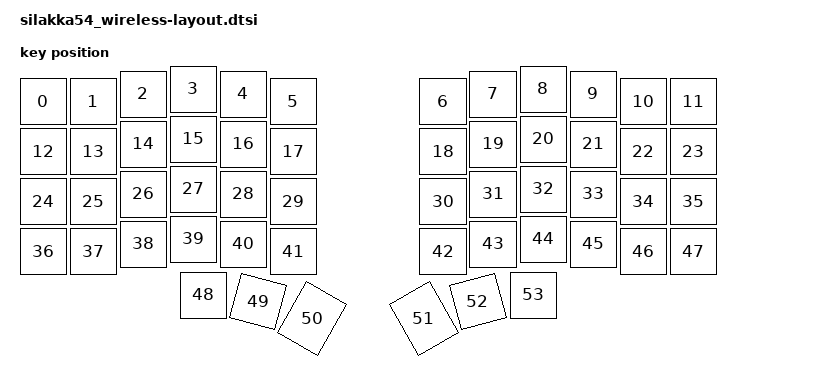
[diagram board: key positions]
/* SPDX-License-Identifier: MIT */

#include <physical_layouts.dtsi>

/* Owner-adjusted, symmetrized photo-based layout, not measured PCB geometry.
 * Four six-key rows and three arcing thumbs per half; inner thumbs are 1.25u
 * wide at mirrored -60/+60 degrees. Ordering matches the 54-entry transform/keymap.
 */
/ {
    silakka54_wireless_layout: silakka54_wireless_layout {
        compatible = "zmk,physical-layout";
        display-name = "Silakka54 Wireless";

        keys //                       w   h    x    y      rot    rx   ry
            = <&key_physical_attrs 100 100    0   25        0     0    0>
            , <&key_physical_attrs 100 100  100   25        0     0    0>
            , <&key_physical_attrs 100 100  200   10        0     0    0>
            , <&key_physical_attrs 100 100  300    0        0     0    0>
            , <&key_physical_attrs 100 100  400   10        0     0    0>
            , <&key_physical_attrs 100 100  500   25        0     0    0>
            , <&key_physical_attrs 100 100  800   25        0     0    0>
            , <&key_physical_attrs 100 100  900   10        0     0    0>
            , <&key_physical_attrs 100 100 1000    0        0     0    0>
            , <&key_physical_attrs 100 100 1100   10        0     0    0>
            , <&key_physical_attrs 100 100 1200   25        0     0    0>
            , <&key_physical_attrs 100 100 1300   25        0     0    0>
            , <&key_physical_attrs 100 100    0  125        0     0    0>
            , <&key_physical_attrs 100 100  100  125        0     0    0>
            , <&key_physical_attrs 100 100  200  110        0     0    0>
            , <&key_physical_attrs 100 100  300  100        0     0    0>
            , <&key_physical_attrs 100 100  400  110        0     0    0>
            , <&key_physical_attrs 100 100  500  125        0     0    0>
            , <&key_physical_attrs 100 100  800  125        0     0    0>
            , <&key_physical_attrs 100 100  900  110        0     0    0>
            , <&key_physical_attrs 100 100 1000  100        0     0    0>
            , <&key_physical_attrs 100 100 1100  110        0     0    0>
            , <&key_physical_attrs 100 100 1200  125        0     0    0>
            , <&key_physical_attrs 100 100 1300  125        0     0    0>
            , <&key_physical_attrs 100 100    0  225        0     0    0>
            , <&key_physical_attrs 100 100  100  225        0     0    0>
            , <&key_physical_attrs 100 100  200  210        0     0    0>
            , <&key_physical_attrs 100 100  300  200        0     0    0>
            , <&key_physical_attrs 100 100  400  210        0     0    0>
            , <&key_physical_attrs 100 100  500  225        0     0    0>
            , <&key_physical_attrs 100 100  800  225        0     0    0>
            , <&key_physical_attrs 100 100  900  210        0     0    0>
            , <&key_physical_attrs 100 100 1000  200        0     0    0>
            , <&key_physical_attrs 100 100 1100  210        0     0    0>
            , <&key_physical_attrs 100 100 1200  225        0     0    0>
            , <&key_physical_attrs 100 100 1300  225        0     0    0>
            , <&key_physical_attrs 100 100    0  325        0     0    0>
            , <&key_physical_attrs 100 100  100  325        0     0    0>
            , <&key_physical_attrs 100 100  200  310        0     0    0>
            , <&key_physical_attrs 100 100  300  300        0     0    0>
            , <&key_physical_attrs 100 100  400  310        0     0    0>
            , <&key_physical_attrs 100 100  500  325        0     0    0>
            , <&key_physical_attrs 100 100  800  325        0     0    0>
            , <&key_physical_attrs 100 100  900  310        0     0    0>
            , <&key_physical_attrs 100 100 1000  300        0     0    0>
            , <&key_physical_attrs 100 100 1100  310        0     0    0>
            , <&key_physical_attrs 100 100 1200  325        0     0    0>
            , <&key_physical_attrs 100 100 1300  325        0     0    0>
            , <&key_physical_attrs 100 100  320  412        0    20 (-13)>
            , <&key_physical_attrs 100 100  430  425     1500   480  475>
            , <&key_physical_attrs 125 100  526  459  (-6000)  588  509>
            , <&key_physical_attrs 125 100  749  459     6000   812  509>
            , <&key_physical_attrs 100 100  870  425  (-1500)  920  475>
            , <&key_physical_attrs 100 100  980  412        0  1380 (-13)>
            ;
    };
};
